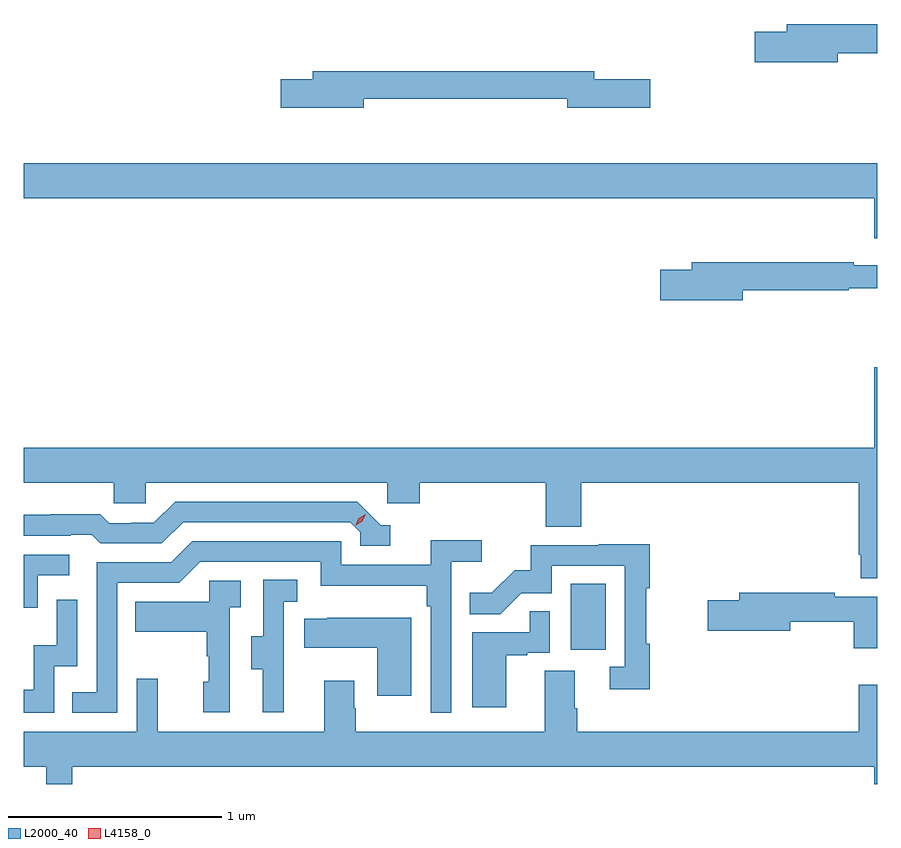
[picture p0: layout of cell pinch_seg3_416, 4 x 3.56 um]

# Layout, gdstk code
import gdstk
lib = gdstk.Library(unit=1e-6, precision=1e-09)
def R(c, l, rs):  # rectangles x0, y0, x1, y1
    for r in rs: c.add(gdstk.rectangle(r[:2], r[2:], *l))
def P(c, l, *ps):  # polygons
    for p in ps: c.add(gdstk.Polygon(p, *l))
L2000_40 = (2000, 40)
L4158_0 = (4158, 0)

pinch_seg3_416 = lib.new_cell('pinch_seg3_416')
R(pinch_seg3_416, L2000_40, [(954.794,700.134,954.958,700.441)])
P(pinch_seg3_416, L2000_40, [(956.044,702.928),(956.23,702.928),(956.23,703.064),(955.805,703.064),(955.805,703.028),(955.656,703.028),(955.656,702.886),(956.044,702.886)],
  [(953.824,702.714),(954.776,702.714),(954.776,702.671),(955.165,702.671),(955.165,702.806),(954.904,702.806),(954.904,702.842),(953.585,702.842),(953.585,702.806),(953.436,702.806),(953.436,702.671),(953.824,702.671)],
  [(956.23,702.412),(952.23,702.412),(952.23,702.248),(956.216,702.248),(956.216,702.06),(956.23,702.06)],
  [(955.6,701.818),(956.096,701.818),(956.096,701.826),(956.23,701.826),(956.23,701.934),(956.12,701.934),(956.12,701.947),(955.361,701.947),(955.361,701.913),(955.212,701.913),(955.212,701.771),(955.6,701.771)],
  [(952.23,700.916),(952.653,700.916),(952.653,700.818),(952.803,700.818),(952.803,700.916),(953.934,700.916),(953.934,700.818),(954.086,700.818),(954.086,700.916),(954.677,700.916),(954.677,700.708),(954.842,700.708),(954.842,700.916),(956.142,700.916),(956.142,700.579),(956.152,700.579),(956.152,700.467),(956.23,700.467),(956.23,701.455),(956.216,701.455),(956.216,701.08),(952.23,701.08)],
  [(953.947,700.716),(953.904,700.716),(953.793,700.827),(952.94,700.827),(952.841,700.728),(952.734,700.728),(952.734,700.725),(952.631,700.725),(952.589,700.768),(952.356,700.768),(952.356,700.765),(952.23,700.765),(952.23,700.668),(952.451,700.668),(952.451,700.671),(952.55,700.671),(952.589,700.632),(952.878,700.632),(952.977,700.731),(953.76,700.731),(953.808,700.683),(953.808,700.62),(953.947,700.62)],
  [(952.668,700.446),(952.959,700.446),(953.058,700.545),(953.622,700.545),(953.622,700.433),(954.118,700.433),(954.118,700.337),(954.138,700.337),(954.138,699.837),(954.234,699.837),(954.234,700.544),(954.376,700.544),(954.376,700.646),(954.137,700.646),(954.137,700.53),(953.718,700.53),(953.718,700.641),(953.021,700.641),(952.922,700.542),(952.572,700.542),(952.572,699.933),(952.459,699.933),(952.459,699.837),(952.668,699.837)],
  [(955.163,700.16),(955.148,700.16),(955.148,700.42),(955.163,700.42),(955.163,700.628),(954.925,700.628),(954.925,700.623),(954.607,700.623),(954.607,700.506),(954.53,700.506),(954.423,700.399),(954.319,700.399),(954.319,700.3),(954.463,700.3),(954.561,700.398),(954.705,700.398),(954.705,700.527),(955.047,700.527),(955.047,700.053),(954.975,700.053),(954.975,699.948),(955.163,699.948)],
  [(952.296,700.482),(952.444,700.482),(952.444,700.578),(952.23,700.578),(952.23,700.329),(952.296,700.329)],
  [(953.45,700.053),(953.448,700.053),(953.448,700.357),(953.512,700.357),(953.512,700.46),(953.352,700.46),(953.352,700.197),(953.297,700.197),(953.297,700.042),(953.351,700.042),(953.351,699.84),(953.45,699.84)],
  [(953.196,700.331),(953.248,700.331),(953.248,700.455),(953.1,700.455),(953.1,700.357),(952.753,700.357),(952.753,700.217),(953.088,700.217),(953.088,700.103),(953.098,700.103),(953.098,699.984),(953.072,699.984),(953.072,699.84),(953.196,699.84)],
  [(956.23,700.38),(956.03,700.38),(956.03,700.4),(955.583,700.4),(955.583,700.364),(955.434,700.364),(955.434,700.222),(955.822,700.222),(955.822,700.264),(956.119,700.264),(956.119,700.139),(956.23,700.139)],
  [(952.374,700.056),(952.482,700.056),(952.482,700.366),(952.386,700.366),(952.386,700.154),(952.277,700.154),(952.277,699.946),(952.23,699.946),(952.23,699.837),(952.374,699.837)],
  [(954.49,700.107),(954.59,700.107),(954.59,700.119),(954.696,700.119),(954.696,700.313),(954.601,700.313),(954.601,700.215),(954.332,700.215),(954.332,699.864),(954.49,699.864)],
  [(954.046,700.282),(953.653,700.282),(953.653,700.279),(953.545,700.279),(953.545,700.142),(953.888,700.142),(953.888,699.918),(954.046,699.918)],
  [(952.23,699.584),(952.337,699.584),(952.337,699.504),(952.459,699.504),(952.459,699.584),(956.216,699.584),(956.216,699.504),(956.23,699.504),(956.23,699.97),(956.142,699.97),(956.142,699.748),(954.824,699.748),(954.824,699.86),(954.811,699.86),(954.811,700.034),(954.671,700.034),(954.671,699.748),(953.787,699.748),(953.787,699.86),(953.779,699.86),(953.779,699.988),(953.639,699.988),(953.639,699.748),(952.859,699.748),(952.859,699.997),(952.761,699.997),(952.761,699.748),(952.23,699.748)])
P(pinch_seg3_416, L4158_0, [(953.785,700.716),(953.785,700.716),(953.801,700.749),(953.832,700.768),(953.833,700.768),(953.833,700.767),(953.816,700.735),(953.785,700.716)])

lib.write_gds('pinch_seg3_416.gds')
